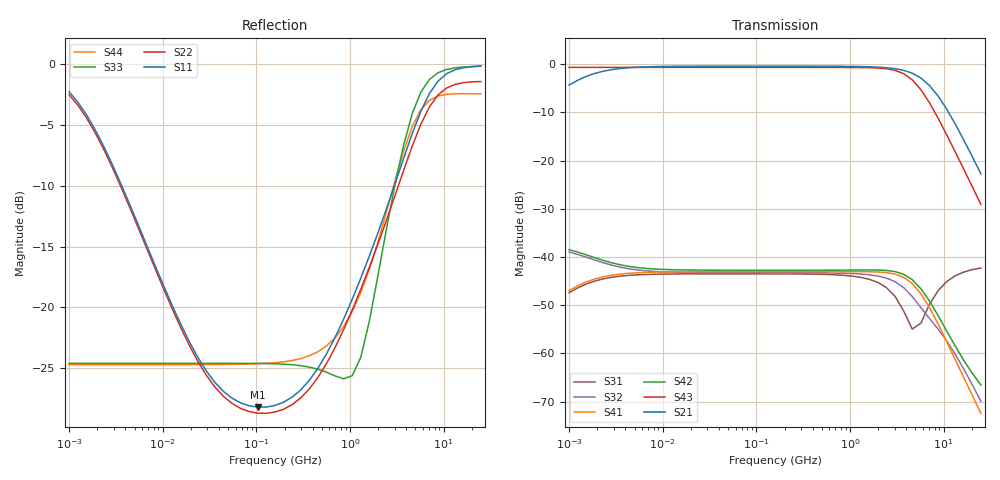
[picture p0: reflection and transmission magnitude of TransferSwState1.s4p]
# MHz S MA R 50
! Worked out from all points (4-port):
!   49 points, 1 MHz to 25 GHz, reference 50 ohm
!   strongest paths, dB at 1 MHz, 12.57 MHz, 158.1 MHz, 1.988 GHz, 25 GHz:
!     S21: -4.3, -0.4, -0.4, -0.6, -22.7
!     S43: -0.7, -0.7, -0.7, -0.8, -29.1
!     S42: -38.5, -42.6, -42.7, -42.7, -66.5
!     S41: -47.0, -43.1, -43.0, -43.1, -72.4
!     S32: -38.9, -43.1, -43.2, -43.9, -69.9
!     S31: -47.4, -43.5, -43.5, -45.3, -42.3
!   lowest |S11| = -28.2 dB at 103.7 MHz (marker M1), VSWR 1.08, Z = 53.2 - j2.41 ohm
!   |S11| at or under -10 dB: 3.661 MHz to 2.979 GHz (2.976 GHz wide, 200 % of centre)
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1  0.771 -38.1  0.6081 50.4  0.00427 50.4  0.004487 50.4
   0.6081 50.4  0.7496 -38.1  0.01129 -16.7  0.01192 -16.6
   0.00427 50.4  0.01129 -16.7  0.05881 -0.1  0.9277 -0.0
   0.004487 50.4  0.01192 -16.6  0.9277 -0.0  0.05806 -0.1
4.378912  0.2685 -68.0  0.92 15.4  0.00646 15.3  0.006788 15.4
          0.92 15.4  0.2609 -68.1  0.007548 -13.1  0.007991 -12.9
          0.00646 15.3  0.007548 -13.1  0.05879 -0.3  0.9276 -0.1
          0.006788 15.4  0.007991 -12.9  0.9276 -0.1  0.05804 -0.1
103.6866  0.03882 -35.5  0.9542 -0.7  0.006696 -1.7  0.007041 -1.0
          0.9542 -0.7  0.03666 -32.7  0.006884 -2.7  0.007299 -1.9
          0.006696 -1.7  0.006884 -2.7  0.05875 -6.6  0.9273 -1.7
          0.007041 -1.0  0.007299 -1.9  0.9273 -1.7  0.05859 -2.7
1055.805  0.1079 -98.6  0.9481 -13.5  0.00634 -24.0  0.00705 -17.7
          0.9481 -13.5  0.0974 -72.7  0.006742 -20.9  0.007329 -13.0
          0.00634 -24.0  0.006742 -20.9  0.05231 -91.4  0.9242 -17.5
          0.00705 -17.7  0.007329 -13.0  0.9242 -17.5  0.09604 -24.2
5709.18  0.6408 147.1  0.7193 -75.1  0.002059 138.3  0.004174 -105.7
         0.7193 -75.1  0.567 -112.4  0.002994 -96.3  0.004699 -80.8
         0.002059 138.3  0.002994 -96.3  0.7689 88.8  0.5453 -101.7
         0.004174 -105.7  0.004699 -80.8  0.5453 -101.7  0.6506 -106.2
10750.9  0.9153 85.6  0.3434 -119.0  0.005548 64.3  0.001335 -145.3
         0.3434 -119.0  0.7994 -142.1  0.001359 -122.0  0.001722 -103.4
         0.005548 64.3  0.001359 -122.0  0.9531 44.7  0.1863 -139.9
         0.001335 -145.3  0.001722 -103.4  0.1863 -139.9  0.7531 -143.2
25000  0.9834 36.7  0.07297 -153.9  0.00769 27.3  0.0002396 -165.6
       0.07297 -153.9  0.8501 -164.9  0.0003191 -153.2  0.0004723 -86.6
       0.00769 27.3  0.0003191 -153.2  0.9832 18.4  0.03521 -162.6
       0.0002396 -165.6  0.0004723 -86.6  0.03521 -162.6  0.7563 -165.0
